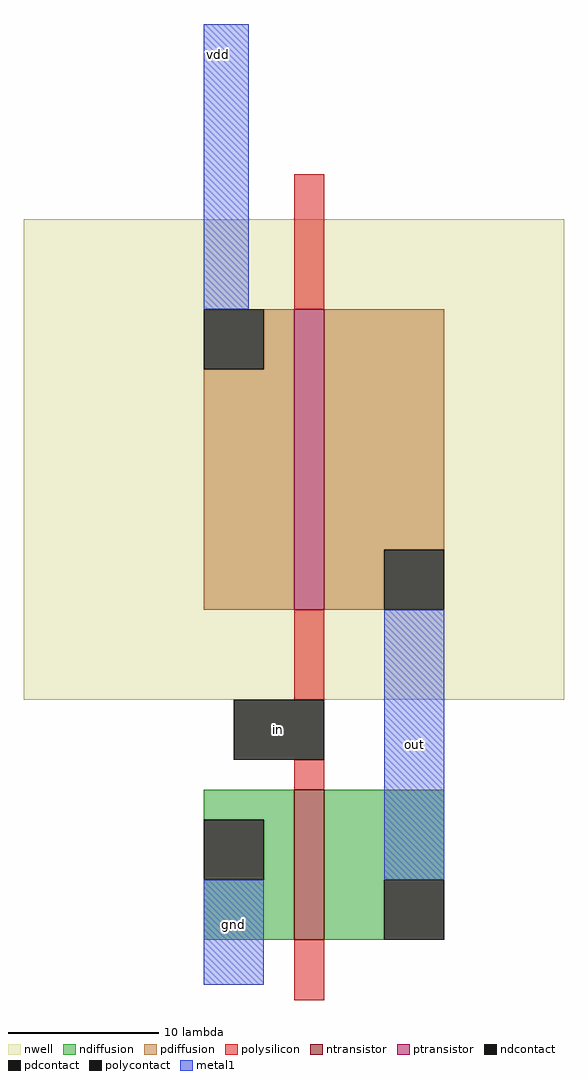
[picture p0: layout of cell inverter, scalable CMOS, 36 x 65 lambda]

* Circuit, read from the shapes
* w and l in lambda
.subckt inverter gnd in out vdd
M1 out in gnd VSUBS nfet w=10 l=2
M2 out in vdd n1 pfet w=20 l=2
.ends

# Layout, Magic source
magic
tech scmos
<< nwell >>
rect -15 -2 21 30
<< ntransistor >>
rect 3 -18 5 -8
<< ptransistor >>
rect 3 4 5 24
<< ndiffusion >>
rect -3 -10 3 -8
rect 1 -14 3 -10
rect -3 -18 3 -14
rect 5 -14 13 -8
rect 5 -18 9 -14
<< pdiffusion >>
rect 1 20 3 24
rect -3 4 3 20
rect 5 8 13 24
rect 5 4 9 8
<< ndcontact >>
rect -3 -14 1 -10
rect 9 -18 13 -14
<< pdcontact >>
rect -3 20 1 24
rect 9 4 13 8
<< polysilicon >>
rect 3 24 5 33
rect 3 -2 5 4
rect 3 -8 5 -6
rect 3 -22 5 -18
<< polycontact >>
rect -1 -6 5 -2
<< metal1 >>
rect -3 24 0 43
rect -3 -21 1 -14
rect 9 -14 13 4
<< labels >>
rlabel metal1 -2 41 -2 41 5 vdd
rlabel metal1 11 -5 11 -5 1 out
rlabel metal1 -1 -17 -1 -17 1 gnd
rlabel polycontact 2 -4 2 -4 1 in
<< end >>
